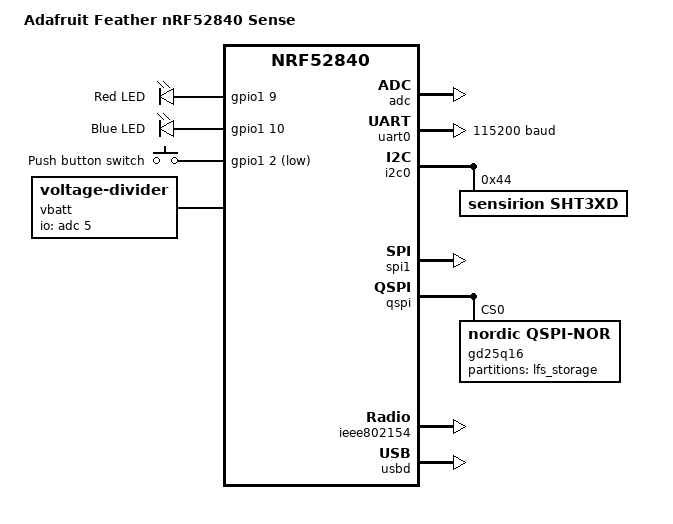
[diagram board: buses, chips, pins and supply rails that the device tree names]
/*
 * Copyright (c) 2020 Tobias Svehagen
 *
 * SPDX-License-Identifier: Apache-2.0
 */

/dts-v1/;
#include <nordic/nrf52840_qiaa.dtsi>
#include "feather_connector.dtsi"
#include "adafruit_feather_sense_nrf52840-pinctrl.dtsi"
#include <zephyr/dt-bindings/input/input-event-codes.h>

/ {
	model = "Adafruit Feather nRF52840 Sense";
	compatible = "adafruit,feather-nrf52840";

	chosen {
		zephyr,console = &cdc_acm_uart0;
		zephyr,shell-uart = &cdc_acm_uart0;
		zephyr,uart-mcumgr = &cdc_acm_uart0;
		zephyr,bt-mon-uart = &cdc_acm_uart0;
		zephyr,bt-c2h-uart = &cdc_acm_uart0;
		zephyr,sram = &sram0;
		zephyr,flash = &flash0;
		zephyr,code-partition = &code_partition;
		zephyr,ieee802154 = &ieee802154;
	};

	leds {
		compatible = "gpio-leds";
		led0: led_0 {
			gpios = <&gpio1 9 0>;
			label = "Red LED";
		};
		led1: led_1 {
			gpios = <&gpio1 10 0>;
			label = "Blue LED";
		};
	};

	buttons {
		compatible = "gpio-keys";
		button0: button_0 {
			gpios = <&gpio1 2 (GPIO_PULL_UP | GPIO_ACTIVE_LOW)>;
			label = "Push button switch";
			zephyr,code = <INPUT_KEY_0>;
		};
	};

	vbatt {
		compatible = "voltage-divider";
		io-channels = <&adc 5>;
		output-ohms = <100000>;
		full-ohms = <(100000 + 100000)>;
	};

	/* These aliases are provided for compatibility with samples */
	aliases {
		led0 = &led0;
		led1 = &led1;
		sw0 = &button0;
		watchdog0 = &wdt0;
		spi-flash0 = &gd25q16;
	};
};

&adc {
	status = "okay";
};

&uicr {
	gpio-as-nreset;
};

&gpiote {
	status = "okay";
};

&gpio0 {
	status = "okay";
};

&gpio1 {
	status = "okay";
};

&uart0 {
	compatible = "nordic,nrf-uart";
	current-speed = <115200>;
	status = "okay";
	pinctrl-0 = <&uart0_default>;
	pinctrl-1 = <&uart0_sleep>;
	pinctrl-names = "default", "sleep";
};

&i2c0 {
	compatible = "nordic,nrf-twi";
	status = "okay";
	pinctrl-0 = <&i2c0_default>;
	pinctrl-1 = <&i2c0_sleep>;
	pinctrl-names = "default", "sleep";

	SHT3XD: sht3xd@44 {
		compatible = "sensirion,sht3xd";
		reg = <0x44>;
		label = "SHT3XD";
	};
};

&spi1 {
	compatible = "nordic,nrf-spi";
	status = "okay";
	pinctrl-0 = <&spi1_default>;
	pinctrl-1 = <&spi1_sleep>;
	pinctrl-names = "default", "sleep";
};

&qspi {
	status = "okay";
	pinctrl-0 = <&qspi_default>;
	pinctrl-1 = <&qspi_sleep>;
	pinctrl-names = "default", "sleep";
	gd25q16: gd25q16@0 {
		compatible = "nordic,qspi-nor";
		reg = <0>;
		writeoc = "pp4o";
		readoc = "read4io";
		sck-frequency = <16000000>;
		jedec-id = [ c8 40 15  ];
		size = <16777216>;
		has-dpd;
		t-enter-dpd = <20000>;
		t-exit-dpd = <20000>;
		quad-enable-requirements = "S2B1v1";
	};
};

&ieee802154 {
	status = "okay";
};

&flash0 {
	partitions {
		compatible = "fixed-partitions";
		#address-cells = <1>;
		#size-cells = <1>;

		/* To enable flashing with UF2 bootloader, we
		 * must reserve a partition for SoftDevice.
		 * See https: //learn.adafruit.com/introducing-the-adafruit-nrf52840-feather?view=all#hathach-memory-map
		 */
		reserved_partition_0: partition@0 {
			label = "SoftDevice";
			reg = <0x000000000 DT_SIZE_K(152)>;
		};
		code_partition: partition@26000 {
			label = "Application";
			reg = <0x00026000 DT_SIZE_K(796)>;
		};

		/*
		 * The flash starting at 0x000ed000 and ending at
		 * 0x000f4000 is reserved for use by the application.
		 */
		storage_partition: partition@ed000 {
			label = "storage";
			reg = <0x0000ed000 DT_SIZE_K(28)>;
		};

		boot_partition: partition@f4000 {
			label = "UF2";
			reg = <0x000f4000 DT_SIZE_K(48)>;
		};
	};
};

&gd25q16 {
	partitions {
		compatible = "fixed-partitions";
		#address-cells = <1>;
		#size-cells = <1>;
		lfs_partition: partition@0 {
			label = "lfs_storage";
			reg = <0x00000000 DT_SIZE_M(2)>;
		};
	};
};

zephyr_udc0: &usbd {
	compatible = "nordic,nrf-usbd";
	status = "okay";

	cdc_acm_uart0: cdc_acm_uart0 {
		compatible = "zephyr,cdc-acm-uart";
	};
};
